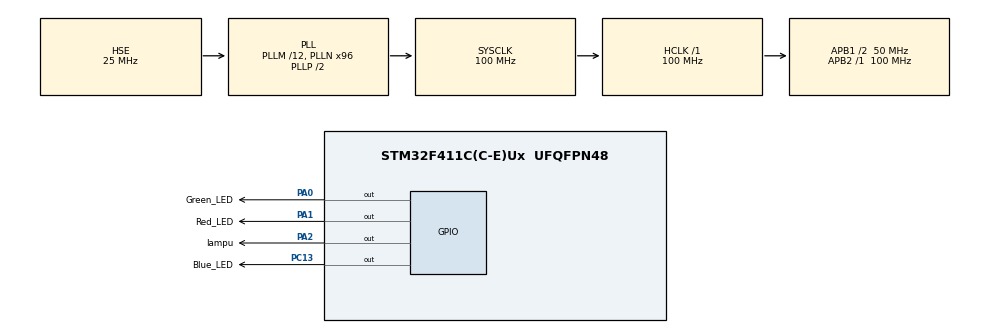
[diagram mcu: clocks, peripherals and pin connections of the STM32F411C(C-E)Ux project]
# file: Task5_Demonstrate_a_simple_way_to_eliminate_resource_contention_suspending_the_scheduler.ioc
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FREERTOS.Tasks01=defaultTask,24,128,StartDefaultTask,Default,NULL,Dynamic,NULL,NULL;RelLedFlashTs,32,128,RelLedFlash,Default,NULL,Dynamic,NULL,NULL;GreenLedFlashTs,24,128,GreenLedFlash,Default,NULL,Dynamic,NULL,NULL
FREERTOS.configUSE_NEWLIB_REENTRANT=1
Mcu.Family=STM32F4
Mcu.Name=STM32F411C(C-E)Ux
Mcu.Package=UFQFPN48
NVIC.PriorityGroup=NVIC_PRIORITYGROUP_4
NVIC.TIM4_IRQn=true\:15\:0\:false\:false\:true\:false\:false\:true\:true
NVIC.TimeBase=TIM4_IRQn
NVIC.TimeBaseIP=TIM4
PA0-WKUP.GPIO_Label=Green_LED
PA0-WKUP.Signal=GPIO_Output
PA1.GPIO_Label=Red_LED
PA1.Signal=GPIO_Output
PA13.Mode=Serial_Wire
PA13.Signal=SYS_JTMS-SWDIO
PA14.Mode=Serial_Wire
PA14.Signal=SYS_JTCK-SWCLK
PA2.GPIO_Label=lampu
PA2.Signal=GPIO_Output
PC13-ANTI_TAMP.GPIO_Label=Blue_LED
PC13-ANTI_TAMP.Signal=GPIO_Output
PH0\ -\ OSC_IN.Mode=HSE-External-Oscillator
PH0\ -\ OSC_IN.Signal=RCC_OSC_IN
PH1\ -\ OSC_OUT.Mode=HSE-External-Oscillator
PH1\ -\ OSC_OUT.Signal=RCC_OSC_OUT
ProjectManager.HeapSize=0x200
ProjectManager.StackSize=0x400
ProjectManager.TargetToolchain=STM32CubeIDE
RCC.48MHZClocksFreq_Value=50000000
RCC.AHBFreq_Value=100000000
RCC.APB1CLKDivider=RCC_HCLK_DIV2
RCC.APB1Freq_Value=50000000
RCC.APB1TimFreq_Value=100000000
RCC.APB2Freq_Value=100000000
RCC.APB2TimFreq_Value=100000000
RCC.CortexFreq_Value=100000000
RCC.HCLKFreq_Value=100000000
RCC.HSE_VALUE=25000000
RCC.HSI_VALUE=16000000
RCC.LSE_VALUE=32768
RCC.PLLM=12
RCC.PLLN=96
RCC.PLLSourceVirtual=RCC_PLLSOURCE_HSE
RCC.SYSCLKFreq_VALUE=100000000
RCC.SYSCLKSource=RCC_SYSCLKSOURCE_PLLCLK
RCC.VCOOutputFreq_Value=200000000
VP_FREERTOS_VS_CMSIS_V2.Mode=CMSIS_V2
VP_SYS_VS_tim4.Mode=TIM4
board=custom

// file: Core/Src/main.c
/* USER CODE BEGIN Header */
/**
  ******************************************************************************
  * @file           : main.c
  * @brief          : Main program body
  ******************************************************************************
  * @attention
  *
  * Copyright (c) 2024 STMicroelectronics.
  * All rights reserved.
  *
  * This software is licensed under terms that can be found in the LICENSE file
  * in the root directory of this software component.
  * If no LICENSE file comes with this software, it is provided AS-IS.
  *
  ******************************************************************************
  */
/* USER CODE END Header */
#include "main.h"
#include "cmsis_os.h"

/* USER CODE BEGIN Includes */
#include "DWT_Delay.h"
/* USER CODE END Includes */

/* Definitions for defaultTask */
osThreadId_t defaultTaskHandle;
const osThreadAttr_t defaultTask_attributes = {
  .name = "defaultTask",
  .stack_size = 128 * 4,
  .priority = (osPriority_t) osPriorityNormal,
};
/* Definitions for RelLedFlashTs */
osThreadId_t RelLedFlashTsHandle;
const osThreadAttr_t RelLedFlashTs_attributes = {
  .name = "RelLedFlashTs",
  .stack_size = 128 * 4,
  .priority = (osPriority_t) osPriorityAboveNormal,
};
/* Definitions for GreenLedFlashTs */
osThreadId_t GreenLedFlashTsHandle;
const osThreadAttr_t GreenLedFlashTs_attributes = {
  .name = "GreenLedFlashTs",
  .stack_size = 128 * 4,
  .priority = (osPriority_t) osPriorityNormal,
};

void SystemClock_Config(void);
static void MX_GPIO_Init(void);
void StartDefaultTask(void *argument);
void RelLedFlash(void *argument);
void GreenLedFlash(void *argument);

/* USER CODE BEGIN PFP */
uint32_t millis (void) {
    return DWT->CYCCNT / (HAL_RCC_GetHCLKFreq() / 1000);
}
uint32_t start;
void Delay_ms(uint32_t milliseconds) {
    start = millis();

    while (millis() - start < milliseconds) {
        // Wait until the required time has passed
    	__NOP();
    }
}

uint8_t flagg = 1;
void accessData(){
	taskENTER_CRITICAL();
	HAL_GPIO_WritePin(lampu_GPIO_Port, lampu_Pin, 1);
	if(flagg == 1) flagg = 0;
	else{
		HAL_GPIO_WritePin(Blue_LED_GPIO_Port, Blue_LED_Pin, 0);
//		osDelay(100);
//		HAL_Delay(100);
		Delay_ms(100);
		HAL_GPIO_WritePin(Blue_LED_GPIO_Port, Blue_LED_Pin, 1);
	}
//	HAL_Delay(500);
	Delay_ms(500);
	flagg = 1;
	HAL_GPIO_WritePin(lampu_GPIO_Port, lampu_Pin, 0);
	taskEXIT_CRITICAL();
}

/* USER CODE END PFP */

int main(void)
{

  /* MCU Configuration--------------------------------------------------------*/

  /* Reset of all peripherals, Initializes the Flash interface and the Systick. */
  HAL_Init();

  /* USER CODE BEGIN Init */
  DWT_Delay_Init();
  /* USER CODE END Init */

  /* Configure the system clock */
  SystemClock_Config();

  /* Initialize all configured peripherals */
  MX_GPIO_Init();
  /* USER CODE BEGIN 2 */
  HAL_GPIO_WritePin(Blue_LED_GPIO_Port, Blue_LED_Pin, 1);
  /* USER CODE END 2 */

  /* Init scheduler */
  osKernelInitialize();

  /* Create the thread(s) */
  /* creation of defaultTask */
  defaultTaskHandle = osThreadNew(StartDefaultTask, NULL, &defaultTask_attributes);

  /* creation of RelLedFlashTs */
  RelLedFlashTsHandle = osThreadNew(RelLedFlash, NULL, &RelLedFlashTs_attributes);

  /* creation of GreenLedFlashTs */
  GreenLedFlashTsHandle = osThreadNew(GreenLedFlash, NULL, &GreenLedFlashTs_attributes);

  /* Start scheduler */
  osKernelStart();

  /* We should never get here as control is now taken by the scheduler */

  /* Infinite loop */
  while (1)
  {

  }
}

void SystemClock_Config(void)
{
  RCC_OscInitTypeDef RCC_OscInitStruct = {0};
  RCC_ClkInitTypeDef RCC_ClkInitStruct = {0};

  /** Configure the main internal regulator output voltage
  */
  __HAL_RCC_PWR_CLK_ENABLE();
  __HAL_PWR_VOLTAGESCALING_CONFIG(PWR_REGULATOR_VOLTAGE_SCALE1);

  /** Initializes the RCC Oscillators according to the specified parameters
  * in the RCC_OscInitTypeDef structure.
  */
  RCC_OscInitStruct.OscillatorType = RCC_OSCILLATORTYPE_HSE;
  RCC_OscInitStruct.HSEState = RCC_HSE_ON;
  RCC_OscInitStruct.PLL.PLLState = RCC_PLL_ON;
  RCC_OscInitStruct.PLL.PLLSource = RCC_PLLSOURCE_HSE;
  RCC_OscInitStruct.PLL.PLLM = 12;
  RCC_OscInitStruct.PLL.PLLN = 96;
  RCC_OscInitStruct.PLL.PLLP = RCC_PLLP_DIV2;
  RCC_OscInitStruct.PLL.PLLQ = 4;
  if (HAL_RCC_OscConfig(&RCC_OscInitStruct) != HAL_OK)
  {
    Error_Handler();
  }

  /** Initializes the CPU, AHB and APB buses clocks
  */
  RCC_ClkInitStruct.ClockType = RCC_CLOCKTYPE_HCLK|RCC_CLOCKTYPE_SYSCLK
                              |RCC_CLOCKTYPE_PCLK1|RCC_CLOCKTYPE_PCLK2;
  RCC_ClkInitStruct.SYSCLKSource = RCC_SYSCLKSOURCE_PLLCLK;
  RCC_ClkInitStruct.AHBCLKDivider = RCC_SYSCLK_DIV1;
  RCC_ClkInitStruct.APB1CLKDivider = RCC_HCLK_DIV2;
  RCC_ClkInitStruct.APB2CLKDivider = RCC_HCLK_DIV1;

  if (HAL_RCC_ClockConfig(&RCC_ClkInitStruct, FLASH_LATENCY_3) != HAL_OK)
  {
    Error_Handler();
  }
}

static void MX_GPIO_Init(void)
{
  GPIO_InitTypeDef GPIO_InitStruct = {0};

  /* GPIO Ports Clock Enable */
  __HAL_RCC_GPIOC_CLK_ENABLE();
  __HAL_RCC_GPIOH_CLK_ENABLE();
  __HAL_RCC_GPIOA_CLK_ENABLE();

  /*Configure GPIO pin Output Level */
  HAL_GPIO_WritePin(Blue_LED_GPIO_Port, Blue_LED_Pin, GPIO_PIN_RESET);

  /*Configure GPIO pin Output Level */
  HAL_GPIO_WritePin(GPIOA, Green_LED_Pin|Red_LED_Pin|lampu_Pin, GPIO_PIN_RESET);

  /*Configure GPIO pin : Blue_LED_Pin */
  GPIO_InitStruct.Pin = Blue_LED_Pin;
  GPIO_InitStruct.Mode = GPIO_MODE_OUTPUT_PP;
  GPIO_InitStruct.Pull = GPIO_NOPULL;
  GPIO_InitStruct.Speed = GPIO_SPEED_FREQ_LOW;
  HAL_GPIO_Init(Blue_LED_GPIO_Port, &GPIO_InitStruct);

  /*Configure GPIO pins : Green_LED_Pin Red_LED_Pin lampu_Pin */
  GPIO_InitStruct.Pin = Green_LED_Pin|Red_LED_Pin|lampu_Pin;
  GPIO_InitStruct.Mode = GPIO_MODE_OUTPUT_PP;
  GPIO_InitStruct.Pull = GPIO_NOPULL;
  GPIO_InitStruct.Speed = GPIO_SPEED_FREQ_LOW;
  HAL_GPIO_Init(GPIOA, &GPIO_InitStruct);

}

void StartDefaultTask(void *argument)
{
  for(;;)
  {
    osDelay(1);
  }
}

void RelLedFlash(void *argument)
{
  /* USER CODE BEGIN RelLedFlash */
  /* Infinite loop */
  for(;;)
  {
	  HAL_GPIO_WritePin(Red_LED_GPIO_Port, Red_LED_Pin, 1);
	  accessData();
	  HAL_GPIO_WritePin(Red_LED_GPIO_Port, Red_LED_Pin, 0);
	  osDelay(100);
  }
  /* USER CODE END RelLedFlash */
}

void GreenLedFlash(void *argument)
{
  /* USER CODE BEGIN GreenLedFlash */
  /* Infinite loop */
  for(;;)
  {
	  HAL_GPIO_WritePin(Green_LED_GPIO_Port, Green_LED_Pin, 1);
	  accessData();
	  HAL_GPIO_WritePin(Green_LED_GPIO_Port, Green_LED_Pin, 0);
	  osDelay(500);
  }
  /* USER CODE END GreenLedFlash */
}

void HAL_TIM_PeriodElapsedCallback(TIM_HandleTypeDef *htim)
{
  if (htim->Instance == TIM4) {
    HAL_IncTick();
  }
}

void Error_Handler(void)
{
  __disable_irq();
  while (1)
  {
  }
}
